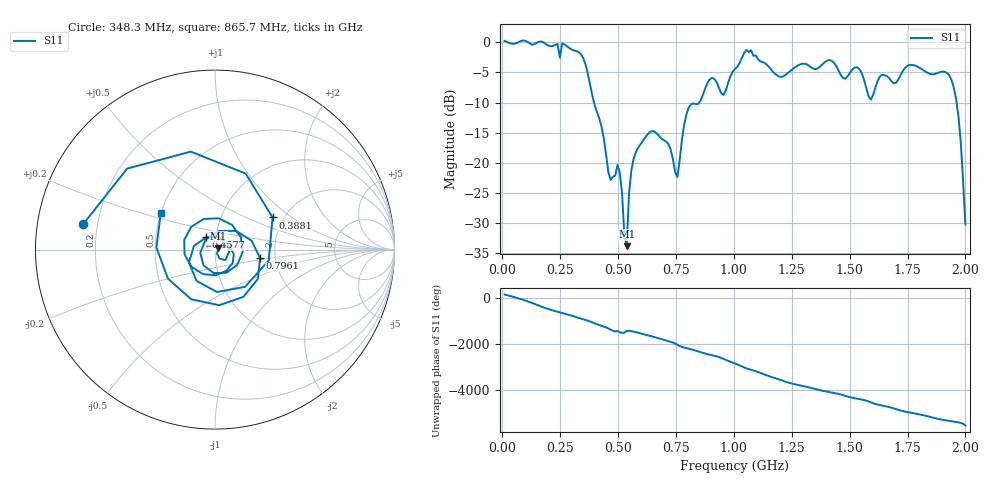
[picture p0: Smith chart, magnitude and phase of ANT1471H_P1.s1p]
!Created with skrf (http://scikit-rf.org).
# Hz S RI R 50.0
!freq ReS11 ImS11
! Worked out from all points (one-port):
!   201 points, 10 MHz to 2 GHz, reference 50 ohm
!   lowest |S11| = -33.8 dB at 537.4 MHz (marker M1), VSWR 1.04, Z = 52 + j0.643 ohm
!   |S11| at or under -10 dB: 396.2 MHz to 850.2 MHz (454.1 MHz wide, 72.9 % of centre); 1.962 GHz to end of sweep
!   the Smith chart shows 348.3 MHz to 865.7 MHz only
!   S11 on the Smith chart (normalised r, x): 348.3 MHz: 0.14, +0.09; 388.1 MHz: 1.75, +0.73; 457.8 MHz: 0.90, +0.13; 796 MHz: 1.66, -0.17; 865.7 MHz: 0.50, +0.23
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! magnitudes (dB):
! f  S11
! 10 MHz  0.2
! 258.8 MHz  -0.2
! 348.3 MHz  -2.5
! 388.1 MHz  -8.7
! 457.8 MHz  -21.5
! 507.5 MHz  -21.6
! 527.4 MHz  -32.1
! 537.4 MHz  -33.8
! 547.3 MHz  -25.1
! 557.2 MHz  -21.3
! 617 MHz  -15.8
! 716.5 MHz  -16.8
! 756.2 MHz  -22.3
! 796 MHz  -11.9
! 865.7 MHz  -8.8
! 905.5 MHz  -5.9
! 955.2 MHz  -8.7
! 1.005 GHz  -4.4
! 1.055 GHz  -1.3
! 1.254 GHz  -4.4
! 1.502 GHz  -5.0
! 1.542 GHz  -4.5
! 1.592 GHz  -9.5
! 1.632 GHz  -5.6
! 1.751 GHz  -3.9
! 1.94 GHz  -6.3
! 1.97 GHz  -12.3
! 2 GHz  -30.2
